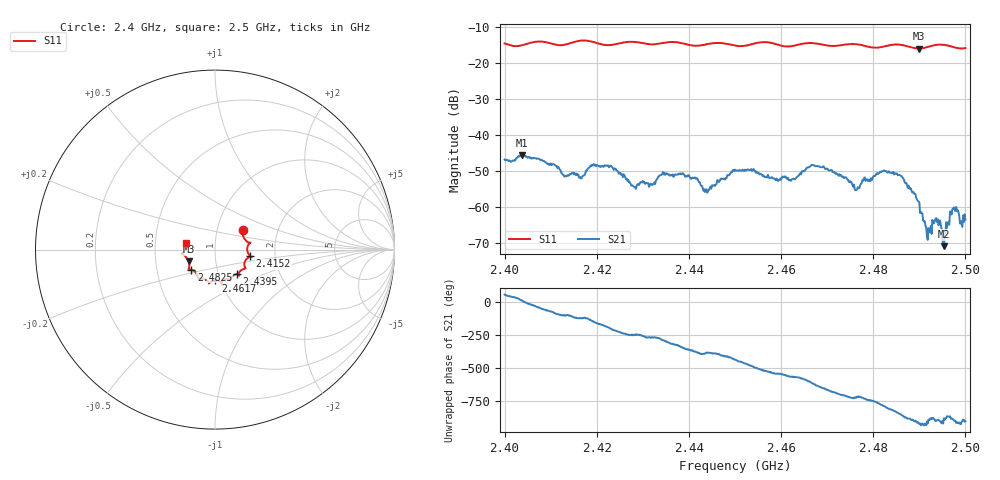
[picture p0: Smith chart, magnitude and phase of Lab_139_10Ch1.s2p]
# Hz S RI R 50
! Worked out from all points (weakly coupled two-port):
!   601 points, 2.4 GHz to 2.5 GHz, reference 50 ohm
!   highest |S21| = -45.46 dB at 2.4037 GHz (marker M1); lowest = -70.8 dB at 2.4953 GHz (marker M2)
!   lowest |S11| = -15.9 dB at 2.4898 GHz (marker M3), VSWR 1.38, Z = 36.9 - j4.89 ohm
!   |S11| at or under -10 dB: start of sweep to end of sweep
!   S12 and S22 are empty: the file has one direction only
!   S11 on the Smith chart (normalised r, x): 2.4 GHz: 1.33, +0.30; 2.4152 GHz: 1.48, -0.11; 2.4395 GHz: 1.22, -0.35; 2.4617 GHz: 0.94, -0.33; 2.4825 GHz: 0.75, -0.17; 2.5 GHz: 0.72, +0.05
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2.4e9  0.1552 0.1093  0.00276 0.0037  0 0  0 0
2.403667e9  0.1703 0.0528  0.00528 0.000799  0 0  0 0
2.415167e9  0.1958 -0.0366  -0.00155 -0.00257  0 0  0 0
2.416667e9  0.2038 -0.042  -0.00143 -0.00207  0 0  0 0
2.419167e9  0.1952 -0.0407  -0.00329 -0.00194  0 0  0 0
2.428e9  0.1699 -0.1042  -0.00061 0.00186  0 0  0 0
2.433333e9  0.1326 -0.133  0.000116 0.00267  0 0  0 0
2.4395e9  0.1225 -0.1377  0.00267 6.75e-05  0 0  0 0
2.443667e9  0.0878 -0.1613  0.00158 -0.000799  0 0  0 0
2.45e9  0.0668 -0.1643  0.000752 -0.00326  0 0  0 0
2.461667e9  0.0011 -0.1721  -0.00218 0.000925  0 0  0 0
2.466667e9  -0.0336 -0.189  -0.00117 0.00372  0 0  0 0
2.4765e9  -0.0945 -0.1583  0.00179 0.000159  0 0  0 0
2.4825e9  -0.1326 -0.1112  0.00118 -0.00296  0 0  0 0
2.483333e9  -0.14 -0.1103  0.00024 -0.00316  0 0  0 0
2.486167e9  -0.1463 -0.1061  -0.00188 -0.00194  0 0  0 0
2.489833e9  -0.1476 -0.0646  -0.00115 0.000333  0 0  0 0
2.491833e9  -0.1653 -0.038  -0.000336 0.000107  0 0  0 0
2.494e9  -0.1805 -0.0239  -0.000672 -0.000108  0 0  0 0
2.495333e9  -0.1801 -0.0199  -0.000266 -0.000112  0 0  0 0
2.497167e9  -0.1704 -0.00812  -0.000892 -0.000296  0 0  0 0
2.5e9  -0.1597 0.0354  -0.000673 2e-06  0 0  0 0
